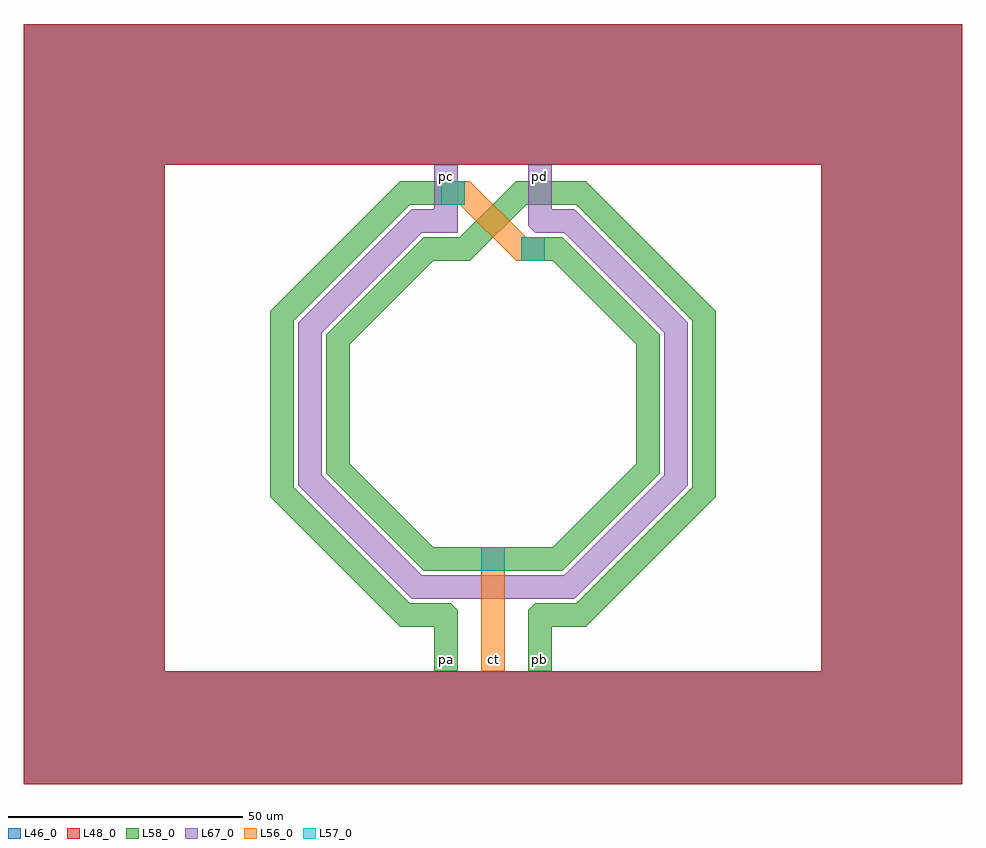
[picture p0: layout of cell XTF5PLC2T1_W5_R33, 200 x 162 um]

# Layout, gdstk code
import gdstk
lib = gdstk.Library(unit=1e-6, precision=1e-09)
def R(c, l, rs):  # rectangles x0, y0, x1, y1
    for r in rs: c.add(gdstk.rectangle(r[:2], r[2:], *l))
def P(c, l, *ps):  # polygons
    for p in ps: c.add(gdstk.Polygon(p, *l))
L46_0 = (46, 0)
L48_0 = (48, 0)
L56_0 = (56, 0)
L57_0 = (57, 0)
L58_0 = (58, 0)
L67_0 = (67, 0)

xtf5plc2t1_w5_r33 = lib.new_cell('XTF5PLC2T1_W5_R33')
P(xtf5plc2t1_w5_r33, L46_0, [(100,-81),(-100,-81),(-100,81),(70,81),(70,51),(-70,51),(-70,-57),(70,-57),(70,81),(100,81)])
P(xtf5plc2t1_w5_r33, L48_0, [(100,-81),(-100,-81),(-100,81),(70,81),(70,51),(-70,51),(-70,-57),(70,-57),(70,81),(100,81)])
R(xtf5plc2t1_w5_r33, L56_0, [(-2.5,-57,2.5,-30.5), (-2.5,-57,2.5,-52)])
P(xtf5plc2t1_w5_r33, L56_0, [(11,30.5),(4.965,30.5),(-7.035,42.5),(-11,42.5),(-11,47.5),(-4.965,47.5),(7.035,35.5),(11,35.5)])
R(xtf5plc2t1_w5_r33, L57_0, [(-2.5,-35.5,2.5,-30.5), (6,30.5,11,35.5), (-11,42.5,-6,47.5)])
R(xtf5plc2t1_w5_r33, L58_0, [(-12.5,-57,-7.5,-52), (7.5,-57,12.5,-52)])
P(xtf5plc2t1_w5_r33, L58_0, [(-6,42.5),(-17.72,42.5),(-42.5,17.72),(-42.5,-17.72),(-17.72,-42.5),(-8.965,-42.5),(-7.5,-43.965),(-7.5,-57),(-12.5,-57),(-12.5,-47.5),(-19.79,-47.5),(-47.5,-19.79),(-47.5,19.79),(-19.79,47.5),(-6,47.5)],
  [(47.5,-19.79),(19.79,-47.5),(12.5,-47.5),(12.5,-57),(7.5,-57),(7.5,-43.965),(8.965,-42.5),(17.72,-42.5),(42.5,-17.72),(42.5,17.72),(17.72,42.5),(7.035,42.5),(-4.965,30.5),(-12.72,30.5),(-30.5,12.72),(-30.5,-12.72),(-12.72,-30.5),(12.72,-30.5),(30.5,-12.72),(30.5,12.72),(12.72,30.5),(6,30.5),(6,35.5),(14.79,35.5),(35.5,14.79),(35.5,-14.79),(14.79,-35.5),(-14.79,-35.5),(-35.5,-14.79),(-35.5,14.79),(-14.79,35.5),(-7.035,35.5),(4.965,47.5),(19.79,47.5),(47.5,19.79)])
R(xtf5plc2t1_w5_r33, L67_0, [(-12.5,46,-7.5,51), (7.5,46,12.5,51)])
P(xtf5plc2t1_w5_r33, L67_0, [(41.5,-17.29),(17.29,-41.5),(-17.29,-41.5),(-41.5,-17.29),(-41.5,17.29),(-17.29,41.5),(-12.5,41.5),(-12.5,51),(-7.5,51),(-7.5,36.5),(-15.22,36.5),(-36.5,15.22),(-36.5,-15.22),(-15.22,-36.5),(15.22,-36.5),(36.5,-15.22),(36.5,15.22),(15.22,36.5),(8.965,36.5),(7.5,37.965),(7.5,51),(12.5,51),(12.5,41.5),(17.29,41.5),(41.5,17.29)])
xtf5plc2t1_w5_r33.add(gdstk.Label('pb', (10,-54.5), layer=58, texttype=0))
xtf5plc2t1_w5_r33.add(gdstk.Label('pa', (-10,-54.5), layer=58, texttype=0))
xtf5plc2t1_w5_r33.add(gdstk.Label('pd', (10,48.5), layer=67, texttype=0))
xtf5plc2t1_w5_r33.add(gdstk.Label('pc', (-10,48.5), layer=67, texttype=0))
xtf5plc2t1_w5_r33.add(gdstk.Label('ct', (0,-54.5), layer=56, texttype=0))

lib.write_gds('XTF5PLC2T1_W5_R33.gds')
